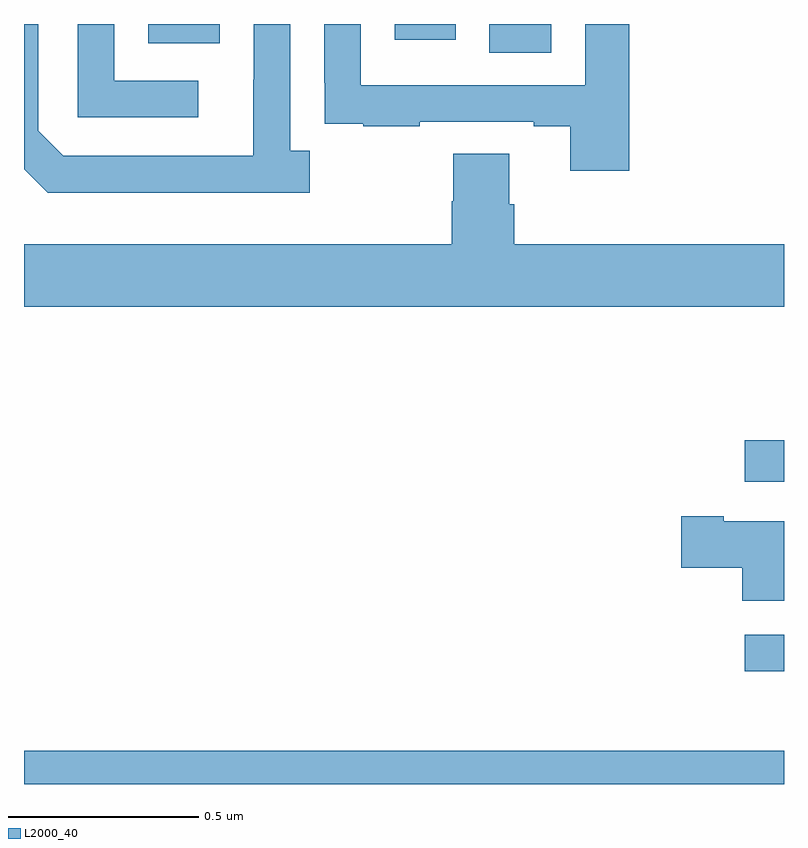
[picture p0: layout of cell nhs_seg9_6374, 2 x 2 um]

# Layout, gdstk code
import gdstk
lib = gdstk.Library(unit=1e-6, precision=1e-09)
def R(c, l, rs):  # rectangles x0, y0, x1, y1
    for r in rs: c.add(gdstk.rectangle(r[:2], r[2:], *l))
def P(c, l, *ps):  # polygons
    for p in ps: c.add(gdstk.Polygon(p, *l))
L2000_40 = (2000, 40)

nhs_seg9_6374 = lib.new_cell('nhs_seg9_6374')
R(nhs_seg9_6374, L2000_40, [(191,1192.5,193,1192.588), (192.897,1192.797,193,1192.893), (192.897,1193.295,193,1193.404), (192.224,1194.424,192.388,1194.5), (191.327,1194.449,191.515,1194.5), (191.975,1194.459,192.136,1194.5)])
P(nhs_seg9_6374, L2000_40, [(192.593,1194.5),(192.477,1194.5),(192.477,1194.339),(191.886,1194.339),(191.886,1194.5),(191.79,1194.5),(191.79,1194.346),(191.791,1194.346),(191.791,1194.237),(191.893,1194.237),(191.893,1194.231),(192.041,1194.231),(192.041,1194.243),(192.341,1194.243),(192.341,1194.231),(192.437,1194.231),(192.437,1194.114),(192.593,1194.114)],
  [(191.458,1194.351),(191.238,1194.351),(191.238,1194.5),(191.142,1194.5),(191.142,1194.255),(191.458,1194.255)],
  [(191.752,1194.166),(191.7,1194.166),(191.7,1194.5),(191.604,1194.5),(191.604,1194.353),(191.603,1194.353),(191.603,1194.153),(191.103,1194.153),(191.037,1194.219),(191.037,1194.5),(191,1194.5),(191,1194.118),(191.062,1194.056),(191.752,1194.056)],
  [(193,1193.92),(192.29,1193.92),(192.29,1194.026),(192.277,1194.026),(192.277,1194.158),(192.13,1194.158),(192.13,1194.033),(192.125,1194.033),(192.125,1193.92),(191,1193.92),(191,1193.756),(193,1193.756)],
  [(193,1193.191),(192.841,1193.191),(192.841,1193.204),(192.729,1193.204),(192.729,1193.069),(192.89,1193.069),(192.89,1192.982),(193,1192.982)])

lib.write_gds('nhs_seg9_6374.gds')
